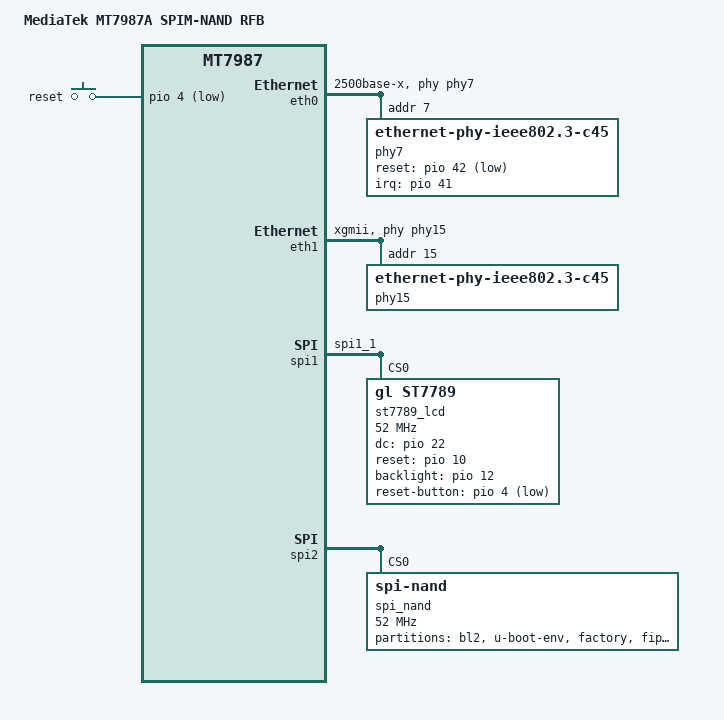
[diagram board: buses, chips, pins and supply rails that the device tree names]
// SPDX-License-Identifier: (GPL-2.0 OR MIT)

/dts-v1/;
#include "mt7987a.dtsi"
#include "mt7987a-u-boot.dtsi"
#include "mt7987-netsys-u-boot.dtsi"
#include <dt-bindings/input/input.h>
#include <dt-bindings/gpio/gpio.h>

/ {
	model = "MediaTek MT7987A SPIM-NAND RFB";
	compatible = "mediatek,mt7987a-spim-snand",
		     "mediatek,mt7987a", "mediatek,mt7987";

	chosen {
		bootargs = "console=ttyS0,115200n1 loglevel=8";
	};

	bl2_verify {
		bl2_compatible = "spim-nand";
	};

	config {
        bootcmd = "mtkboardboot";

        environment {
            lu = "mtkupgrade fip uboot-gl-be10000.bin";
            lf = "mtkupgrade fw openwrt-gl-be10000.bin";
        };
    };

	gpio-keys {
		compatible = "gpio-keys";

		reset {
			label = "reset";
			linux,code = <KEY_RESTART>;
			gpios = <&pio 4 GPIO_ACTIVE_LOW>;
			debounce-interval = <10>;
		};
	};
};

&eth0 {
	status = "okay";
	pinctrl-names = "default";
	pinctrl-0 = <&mdio0_pins>;
	phy-mode = "2500base-x";
	phy-handle = <&phy7>;

	phy7: phy@7 {
		compatible = "ethernet-phy-ieee802.3-c45";
		reg = <7>;
		reset-assert-us = <100000>;
		reset-deassert-us = <100000>;
		reset-gpios = <&pio 42 GPIO_ACTIVE_LOW>;
		interrupt-parent = <&pio>;
		interrupts = <41 IRQ_TYPE_LEVEL_LOW>;
		//realtek,aldps-enable;
	};
};

&eth1 {
	status = "okay";
	pinctrl-names = "i2p5gbe-led";
	pinctrl-0 = <&i2p5gbe_led0_pins>;
	phy-mode = "xgmii";
	phy-handle = <&phy15>;

	phy15: ethernet-phy@15 {
		compatible = "ethernet-phy-ieee802.3-c45";
		reg = <15>;
		phy-mode = "xgmii";
	};
};

&eth2 {
	status = "diabled";
	pinctrl-names = "default";
	pinctrl-0 = <&mdio0_pins>;
	phy-mode = "2500base-x";
	phy-handle = <&phy11>;

	fixed-link {
		speed = <2500>;
		full-duplex;
	};

	phy11: eth-phy@11 {
		compatible = "ethernet-phy-id03a2.a411";
		reg = <11>;
		phy-mode = "2500base-x";
		reset-gpios = <&pio 48 GPIO_ACTIVE_HIGH>;
		reset-assert-us = <100000>;
		reset-deassert-us = <100000>;
	};
};

&spi0 {
	pinctrl-names = "default";
	pinctrl-0 = <&spi0_flash_pins>;
	#address-cells = <1>;
	#size-cells = <0>;
	status = "disabled";
	must_tx;
	enhance_timing;
	dma_ext;
	ipm_design;
	support_quad;
	tick_dly = <2>;
	sample_sel = <0>;

	/delete-node/ flash@0;
	spi_nor@0 {
		compatible = "jedec,spi-nor";
		reg = <0>;
		spi-max-frequency = <52000000>;
		spi-rx-bus-width = <4>;
		spi-tx-bus-width = <4>;
	};
};

&pio {
    spi1_1_pins: spi1_1-pins {
		mux {
			function = "spi";
			groups = "spi1_1";
		};
	};
};

&spi1 {
	pinctrl-0 = <&spi1_1_pins>;
	pinctrl-names = "default";
    #address-cells = <1>;
	#size-cells = <0>;
	status = "okay";
    must_tx;
	enhance_timing;
	dma_ext;
	ipm_design;
	tick_dly = <2>;
	sample_sel = <0>;

	st7789_lcd: st7789@0 {
		compatible = "gl,st7789";
		reg = <0>;
		spi-max-frequency = <52000000>;
		dc-gpios = <&pio 22 GPIO_ACTIVE_HIGH>;
		reset-gpios = <&pio 10 GPIO_ACTIVE_HIGH>;
		backlight-gpios = <&pio 12 GPIO_ACTIVE_HIGH>;
		/* Same pin/polarity as gpio-keys /reset */
		reset-button-gpios = <&pio 4 GPIO_ACTIVE_LOW>;
	};
};

&spi2 {
	pinctrl-names = "default";
	pinctrl-0 = <&spi2_flash_pins>;
	#address-cells = <1>;
	#size-cells = <0>;
	status = "okay";
	must_tx;
	enhance_timing;
	dma_ext;
	ipm_design;
	support_quad;
	tick_dly = <2>;
	sample_sel = <0>;

	/delete-node/ flash@0;
	spi_nand@0 {
		compatible = "spi-nand";
		reg = <0>;
		spi-max-frequency = <52000000>;
		spi-tx-bus-width = <4>;
		spi-rx-bus-width = <4>;
		mediatek,nmbm;
		mediatek,bmt-max-ratio = <1>;
		mediatek,bmt-max-reserved-blocks = <64>;
		partitions {
			compatible = "fixed-partitions";
			#address-cells = <1>;
			#size-cells = <1>;
			partition@0 {
				label = "bl2";
				reg = <0x00000 0x0100000>;
			};
			partition@100000 {
				label = "u-boot-env";
				reg = <0x0100000 0x0080000>;
			};
			factory: partition@180000 {
				label = "factory";
				reg = <0x180000 0x0400000>;
			};
			partition@580000 {
				label = "fip";
				reg = <0x580000 0x0300000>;
			};
			partition@880000 {
				label = "log";
				reg = <0x880000 0x0040000>;
			};
			partition@8C0000 {
				label = "CFG";
				reg = <0x8C0000 0x0040000>;
			};
			partition@900000 {
				label = "ubi";
				reg = <0x900000 0x1D700000>;
				compatible = "linux,ubi";
				volumes {
					ubi_rootfs: ubi-volume-fit {
						volname = "firmware";
					};
				};
			};
		};
	};
};
